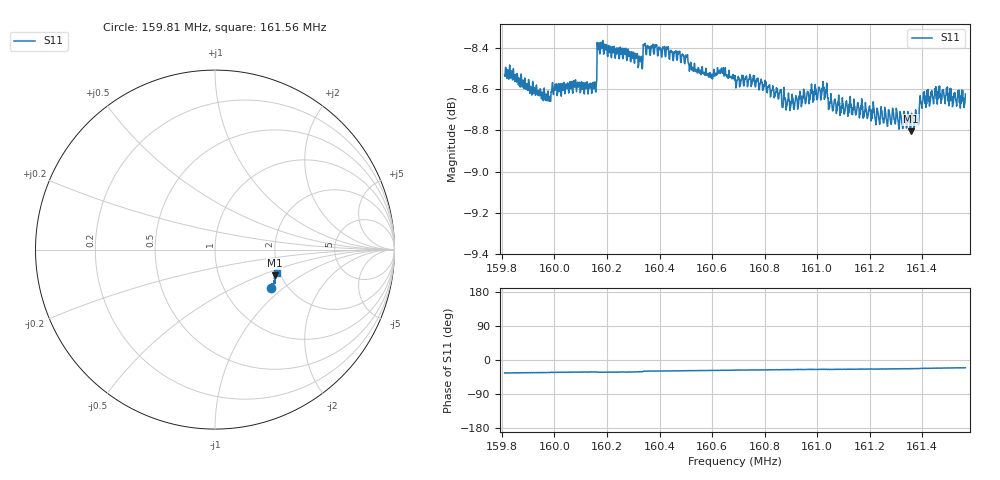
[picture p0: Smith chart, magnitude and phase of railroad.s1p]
! Calibrated averaged scanner-service zoom
# Hz S RI R 50
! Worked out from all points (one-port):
!   1001 points, 159.81 MHz to 161.56 MHz, reference 50 ohm
!   lowest |S11| = -8.8 dB at 161.36 MHz (marker M1), VSWR 2.14, Z = 93.3 - j30.9 ohm
!   |S11| at or under -10 dB: nowhere
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1.5981e8  0.3093 -0.2113
1.599767e8  0.3104 -0.2013
1.59996e8  0.3129 -0.1983
1.600294e8  0.3138 -0.2011
1.601505e8  0.3173 -0.1936
1.601715e8  0.3216 -0.201
1.602488e8  0.3217 -0.2013
1.602856e8  0.3223 -0.2002
1.603277e8  0.3242 -0.1931
1.60347e8  0.3306 -0.1883
1.603646e8  0.3307 -0.1845
1.604681e8  0.3315 -0.1811
1.605225e8  0.3324 -0.1752
1.606419e8  0.3329 -0.1721
1.606875e8  0.334 -0.1691
1.607665e8  0.3338 -0.1646
1.609069e8  0.3336 -0.1591
1.61028e8  0.3358 -0.1541
1.610525e8  0.3368 -0.1548
1.611262e8  0.3376 -0.1516
1.611982e8  0.3364 -0.1485
1.612684e8  0.3322 -0.1484
1.613456e8  0.3383 -0.1422
1.613562e8  0.3332 -0.1438
1.61379e8  0.338 -0.1415
1.614e8  0.3401 -0.1395
1.614141e8  0.3405 -0.139
1.61565e8  0.3472 -0.1295
